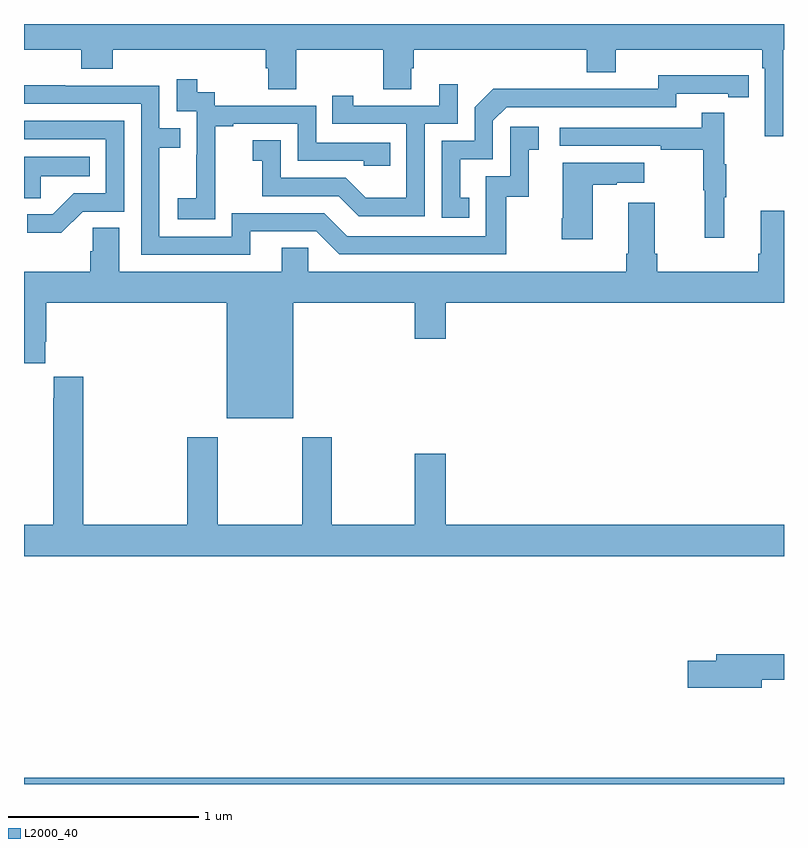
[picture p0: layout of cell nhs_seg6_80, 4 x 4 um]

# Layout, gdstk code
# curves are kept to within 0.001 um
import gdstk
lib = gdstk.Library(unit=1e-6, precision=1e-09)
def R(c, l, rs):  # rectangles x0, y0, x1, y1
    for r in rs: c.add(gdstk.rectangle(r[:2], r[2:], *l))
def P(c, l, *ps):  # polygons
    for p in ps: c.add(gdstk.Polygon(p, *l))
L2000_40 = (2000, 40)

nhs_seg6_80 = lib.new_cell('nhs_seg6_80')
R(nhs_seg6_80, L2000_40, [(115,915.5,119,915.532)])
P(nhs_seg6_80, L2000_40, [(118.996,919.364),(119,919.364),(119,919.5),(115,919.5),(115,919.364),(115.301,919.364),(115.301,919.265),(115.466,919.265),(115.466,919.364),(116.273,919.364),(116.273,919.266),(116.285,919.266),(116.285,919.156),(116.433,919.156),(116.433,919.364),(116.89,919.364),(116.89,919.156),(117.037,919.156),(117.037,919.266),(117.05,919.266),(117.05,919.364),(117.962,919.364),(117.962,919.247),(118.114,919.247),(118.114,919.364),(118.886,919.364),(118.886,919.268),(118.899,919.268),(118.899,918.909),(118.996,918.909)],
  [(117.344,918.585),(117.295,918.585),(117.295,918.789),(117.468,918.789),(117.468,918.99),(117.54,919.062),(118.434,919.062),(118.434,919.134),(118.706,919.134),(118.706,919.114),(118.814,919.114),(118.814,919.23),(118.338,919.231),(118.338,919.158),(117.878,919.158),(117.878,919.16),(117.47,919.16),(117.372,919.062),(117.372,918.885),(117.198,918.885),(117.198,918.48),(117.344,918.48)],
  [(116.007,918.679),(116.006,918.679),(116.006,918.963),(116.101,918.963),(116.101,918.975),(116.442,918.975),(116.442,918.78),(116.787,918.78),(116.787,918.753),(116.927,918.753),(116.927,918.876),(116.538,918.876),(116.538,919.071),(116.004,919.071),(116.004,919.14),(115.912,919.14),(115.912,919.21),(115.803,919.21),(115.803,919.041),(115.908,919.041),(115.908,918.812),(115.907,918.812),(115.907,918.583),(115.809,918.583),(115.809,918.473),(116.007,918.473)],
  [(117.108,918.975),(117.282,918.975),(117.282,919.183),(117.185,919.183),(117.185,919.071),(116.734,919.071),(116.734,919.123),(116.623,919.123),(116.623,918.975),(117.012,918.975),(117.012,918.586),(116.798,918.586),(116.694,918.69),(116.352,918.69),(116.352,918.889),(116.205,918.889),(116.205,918.779),(116.254,918.779),(116.254,918.594),(116.657,918.594),(116.762,918.489),(117.108,918.489)],
  [(116.191,918.408),(116.538,918.408),(116.658,918.288),(117.538,918.288),(117.538,918.591),(117.656,918.591),(117.656,918.837),(117.709,918.837),(117.709,918.958),(117.558,918.958),(117.558,918.699),(117.429,918.699),(117.429,918.384),(116.7,918.384),(116.58,918.504),(116.094,918.504),(116.094,918.381),(115.713,918.381),(115.713,918.85),(115.823,918.85),(115.823,918.951),(115.713,918.951),(115.713,919.176),(115.217,919.176),(115.217,919.178),(115,919.178),(115,919.08),(115.617,919.08),(115.617,918.285),(116.191,918.285)],
  [(118.685,918.587),(118.696,918.587),(118.696,918.761),(118.685,918.761),(118.685,919.033),(118.567,919.033),(118.567,918.954),(117.819,918.954),(117.819,918.858),(118.351,918.858),(118.351,918.838),(118.575,918.838),(118.575,918.624),(118.582,918.624),(118.582,918.375),(118.685,918.375)],
  [(115.308,918.513),(115.527,918.513),(115.527,918.99),(115,918.99),(115,918.894),(115.431,918.894),(115.431,918.609),(115.262,918.609),(115.151,918.498),(115.017,918.498),(115.017,918.401),(115.195,918.401)],
  [(115.089,918.698),(115.346,918.698),(115.346,918.802),(115,918.802),(115,918.583),(115.089,918.583)],
  [(117.994,918.655),(118.121,918.655),(118.121,918.665),(118.264,918.665),(118.264,918.769),(117.836,918.769),(117.836,918.478),(117.829,918.478),(117.829,918.366),(117.994,918.366)],
  [(116.416,918.032),(117.056,918.032),(117.056,917.844),(117.22,917.844),(117.22,918.032),(119,918.032),(119,918.517),(118.877,918.517),(118.877,918.292),(118.865,918.292),(118.865,918.196),(118.334,918.196),(118.334,918.292),(118.321,918.292),(118.321,918.559),(118.181,918.559),(118.181,918.292),(118.169,918.292),(118.169,918.196),(116.496,918.196),(116.496,918.323),(116.357,918.323),(116.357,918.196),(115.501,918.196),(115.501,918.428),(115.362,918.428),(115.362,918.305),(115.349,918.305),(115.349,918.196),(115,918.196),(115,917.715),(115.111,917.715),(115.111,917.827),(115.118,917.827),(115.118,918.032),(116.066,918.032),(116.066,917.426),(116.416,917.426)],
  [(119,916.864),(117.22,916.864),(117.22,917.239),(117.056,917.239),(117.056,916.864),(116.619,916.864),(116.619,917.326),(116.464,917.326),(116.464,916.864),(116.019,916.864),(116.019,917.326),(115.859,917.326),(115.859,916.864),(115.313,916.864),(115.313,917.644),(115.157,917.644),(115.157,917.531),(115.153,917.531),(115.153,916.864),(115,916.864),(115,916.7),(119,916.7)],
  [(118.882,916.048),(119,916.048),(119,916.184),(118.643,916.184),(118.643,916.148),(118.494,916.148),(118.494,916.006),(118.882,916.006)])

lib.write_gds('nhs_seg6_80.gds')
